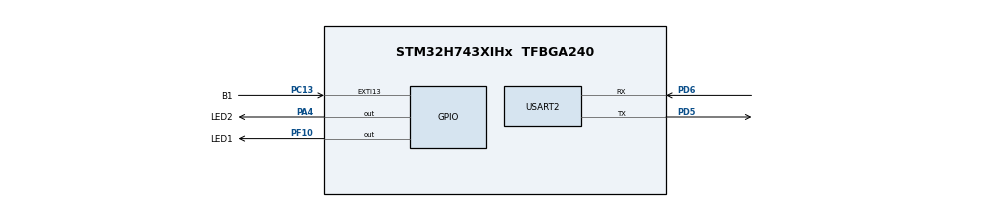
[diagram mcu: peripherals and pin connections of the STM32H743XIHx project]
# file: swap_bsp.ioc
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CORTEX_M7.CPU_DCache=Enabled
CORTEX_M7.CPU_ICache=Enabled
CORTEX_M7.default_mode_Activation=1
Mcu.Family=STM32H7
Mcu.Name=STM32H743XIHx
Mcu.Package=TFBGA240
NVIC.EXTI15_10_IRQn=true\:0\:0\:false\:false\:true\:true\:true\:true
NVIC.PriorityGroup=NVIC_PRIORITYGROUP_4
NVIC.USART2_IRQn=true\:5\:0\:true\:false\:true\:true\:true\:true
PA4.GPIO_Label=LED2
PA4.PinState=GPIO_PIN_SET
PA4.Signal=GPIO_Output
PC13.GPIO_Label=B1
PC13.Signal=GPXTI13
PD5.Mode=Asynchronous
PD5.Signal=USART2_TX
PD6.Mode=Asynchronous
PD6.Signal=USART2_RX
PF10.GPIO_Label=LED1
PF10.PinState=GPIO_PIN_SET
PF10.Signal=GPIO_Output
PH0-OSC_IN\ (PH0).Mode=HSE-External-Oscillator
PH0-OSC_IN\ (PH0).Signal=RCC_OSC_IN
PH1-OSC_OUT\ (PH1).Mode=HSE-External-Oscillator
PH1-OSC_OUT\ (PH1).Signal=RCC_OSC_OUT
ProjectManager.HeapSize=0x200
ProjectManager.StackSize=0x400
ProjectManager.TargetToolchain=STM32CubeIDE
RCC.ADCFreq_Value=129000000
RCC.APB1Freq_Value=64000000
RCC.APB2Freq_Value=64000000
RCC.APB3Freq_Value=64000000
RCC.APB4Freq_Value=64000000
RCC.CortexFreq_Value=64000000
RCC.HCLKFreq_Value=64000000
RCC.PWR_Regulator_Voltage_Scale=PWR_REGULATOR_VOLTAGE_SCALE1
RCC.SYSCLKFreq_VALUE=64000000
RCC.USBFreq_Value=129000000
USART2.VirtualMode-Asynchronous=VM_ASYNC
board=STM32H743I-EVAL2

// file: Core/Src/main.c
/* USER CODE BEGIN Header */
/**
  ******************************************************************************
  * @file           : main.c
  * @brief          : Main program body
  ******************************************************************************
  * @attention
  *
  * Copyright (c) 2024 STMicroelectronics.
  * All rights reserved.
  *
  * This software is licensed under terms that can be found in the LICENSE file
  * in the root directory of this software component.
  * If no LICENSE file comes with this software, it is provided AS-IS.
  *
  ******************************************************************************
  */
/* USER CODE END Header */
#include "main.h"
#include "usart.h"
#include "gpio.h"

/* USER CODE BEGIN Includes */
#include <stdlib.h>
#include "MQTTSim800.h"
#include <string.h>
#include <stdio.h>
#include "stm32h743i_eval.h"
#include "stm32h743i_eval_lcd.h"
#include "stm32h743i_eval_ts.h"
#include "fonts.h"
#include "stm32_lcd.h"
#include "stm32h743i_eval_sdram.h"
#include "stm32h743i_eval_qspi.h"
#include "stm32h743i_eval_eeprom.h"

/* USER CODE END Includes */

/* USER CODE BEGIN PD */
#define UART_SIM800 &huart2
#define FREERTOS 0
#define CMD_DELAY 2000
/* USER CODE END PD */

/* USER CODE BEGIN PV */
 FLASH_OBProgramInitTypeDef OBInit;
 SIM800_t SIM800;
 uint8_t buf[30] = {0};
 unsigned char  rec[64] ;
 unsigned char  newf[64] ;
/* USER CODE END PV */

void SystemClock_Config(void);
//static void MPU_Initialize(void);
//static void MPU_Config(void);

/* USER CODE BEGIN 0 */
void HAL_UART_RxCpltCallback(UART_HandleTypeDef *huart) {
	if (huart == UART_SIM800) {
		Sim800_RxCallBack();
	}
}
TS_State_t  TS_State = {0};
TS_Init_t  hTS;
char xTouchStr[10];
char yTouchStr[10];
uint16_t x1;
uint16_t y;
uint8_t state = 0;
uint32_t ts_status = BSP_ERROR_NONE;
uint32_t x_size, y_size;
/* USER CODE END 0 */

int main(void)
{

  /* Enable I-Cache---------------------------------------------------------*/
  SCB_EnableICache();

  /* Enable D-Cache---------------------------------------------------------*/
  SCB_EnableDCache();

  /* MCU Configuration--------------------------------------------------------*/

  /* Reset of all peripherals, Initializes the Flash interface and the Systick. */
  HAL_Init();

  /* MPU Configuration--------------------------------------------------------*/
  //MPU_Config();

  /* Configure the system clock */
  SystemClock_Config();

  /* Initialize all configured peripherals */
  MX_GPIO_Init();
  MX_USART2_UART_Init();
  /* USER CODE BEGIN 2 */
  BSP_LCD_Init(0, LCD_ORIENTATION_LANDSCAPE);
  UTIL_LCD_SetFuncDriver(&LCD_Driver);
  	uint32_t x_size;
  	uint32_t y_size;

  	UTIL_LCD_SetFont(&UTIL_LCD_DEFAULT_FONT);

  	/* Clear the LCD */
  	UTIL_LCD_SetBackColor(UTIL_LCD_COLOR_LIGHTBLUE);
  	UTIL_LCD_Clear(UTIL_LCD_COLOR_LIGHTBLUE);

  	BSP_LCD_GetXSize(0, &x_size);
  	BSP_LCD_GetYSize(0, &y_size);

  	/* Draw Bitmap */
  	//UTIL_LCD_DrawBitmap((x_size - 80)/2, 400, (uint8_t *)stlogo);
  	UTIL_LCD_DisplayStringAt(0, 100, (uint8_t *)"              ", CENTER_MODE);
  	UTIL_LCD_SetTextColor(UTIL_LCD_COLOR_BLACK);
  	UTIL_LCD_DisplayStringAt(0, 100, (uint8_t *)"Firmware 3 ", CENTER_MODE);
  	hTS.Width = x_size;
  	hTS.Height = y_size;
  	hTS.Orientation = TS_SWAP_NONE;
  	hTS.Accuracy = 1;
  	ts_status = BSP_TS_Init(0, &hTS);

  	SIM800.sim.apn = "weborange";
  	SIM800.sim.apn_user = "";
  	SIM800.sim.apn_pass = "";
  	SIM800.mqttServer.host = "test.mosquitto.org";
  	SIM800.mqttServer.port = 1883;
  	SIM800.mqttClient.username = "";
  	SIM800.mqttClient.pass = "";
  	SIM800.mqttClient.clientID = "TestSub";
  	SIM800.mqttClient.keepAliveInterval = 120;
  	MQTT_Init();
  	uint8_t sub = 0;
  /* USER CODE END 2 */

  /* Infinite loop */
  while (1)
  {

    /* USER CODE BEGIN 3 */

	  ts_status = BSP_TS_GetState(0, &TS_State);
	  		if(TS_State.TouchDetected)
	  		{
	  			x1 = TS_State.TouchX;
	  			y = TS_State.TouchY;

	  			sprintf(xTouchStr, "X: %3d",x1);
	  			sprintf(yTouchStr, "Y: %3d",y);
	  			UTIL_LCD_SetTextColor(UTIL_LCD_COLOR_BLACK);
	  			UTIL_LCD_DisplayStringAt(0, 140, (uint8_t *)xTouchStr, CENTER_MODE);
	  			UTIL_LCD_DisplayStringAt(100, 140, (uint8_t *)yTouchStr, CENTER_MODE);
	  		}
	  			  if (SIM800.mqttServer.connect == 0) {
	  				UTIL_LCD_SetTextColor(UTIL_LCD_COLOR_RED);
	  				   	UTIL_LCD_DisplayStringAt(0, 150, (uint8_t *)"try to connect ", RIGHT_MODE);
	  					UTIL_LCD_FillCircle(200, 160, 14,UTIL_LCD_COLOR_RED);
	  			  			MQTT_Init();
	  			  			sub = 0;
	  			  		}
	  			  		if (SIM800.mqttServer.connect == 1)
	  			  		{
	  			  			if(sub == 0){
	  			  				MQTT_Sub("123456");
	  			  				sub = 1;
	  			  				MQTT_Pub("123456", "connected");
	  			  			UTIL_LCD_DisplayStringAt(0, 150, (uint8_t *)"                        ", RIGHT_MODE);
	  			  			UTIL_LCD_SetTextColor(UTIL_LCD_COLOR_GREEN);
	  			  			UTIL_LCD_DisplayStringAt(0, 150, (uint8_t *)"connected ", LEFT_MODE);
	  			  			UTIL_LCD_FillCircle(200, 160, 14,UTIL_LCD_COLOR_GREEN);

	  			  			}
	  			  			//HAL_GPIO_TogglePin(LED2_GPIO_Port, LED2_Pin);
	  			  			HAL_GPIO_TogglePin(LED2_GPIO_Port, LED2_Pin);
	  			  			HAL_GPIO_WritePin(LED1_GPIO_Port, LED1_Pin, GPIO_PIN_SET);

	  			  			HAL_Delay(400);

	  			  			if(SIM800.mqttReceive.newEvent) {
	  			  				memcpy(rec,SIM800.mqttReceive.payload,64);
	  			  			memcpy(rec,SIM800.mqttReceive.payload,64);
	  			  				strncpy(newf, rec, 12);
	  			  				newf[12] = '\0';
	  			  				SIM800.mqttReceive.newEvent = 0;
	  			  			}
	  			  		}
	  			  		if(strcmp(newf,"new firmware")==0)
	  			  		{
	  			  			UTIL_LCD_SetTextColor(UTIL_LCD_COLOR_BLACK);
  		  					UTIL_LCD_DisplayStringAt(0, 200, (uint8_t *)"              ", CENTER_MODE);
	  			  			UTIL_LCD_DisplayStringAt(0, 200, (uint8_t *)"new firmware exist ", CENTER_MODE);
	  			  			HAL_Delay(400);
	  			  			HAL_FLASH_Unlock();

	  			  			HAL_FLASH_OB_Unlock();
	  			  			HAL_FLASHEx_OBGetConfig(&OBInit);

	  			  			OBInit.Banks     = FLASH_BANK_1;
	  			  			HAL_FLASHEx_OBGetConfig(&OBInit);

	  			  			if ((OBInit.USERConfig & OB_SWAP_BANK_ENABLE) == OB_SWAP_BANK_DISABLE)
	  			  			{

	  			  				OBInit.OptionType = OPTIONBYTE_USER;
	  			  				OBInit.USERType   = OB_USER_SWAP_BANK;
	  			  				OBInit.USERConfig = OB_SWAP_BANK_ENABLE;
	  			  				HAL_FLASHEx_OBProgram(&OBInit);

	  			  				HAL_FLASH_OB_Launch();

	  			  				HAL_NVIC_SystemReset();

	  			  				SCB_InvalidateICache();
	  			  			}
	  			  			else
	  			  			{

	  			  				OBInit.OptionType = OPTIONBYTE_USER;
	  			  				OBInit.USERType = OB_USER_SWAP_BANK;
	  			  				OBInit.USERConfig = OB_SWAP_BANK_DISABLE;
	  			  				HAL_FLASHEx_OBProgram(&OBInit);

	  			  				HAL_FLASH_OB_Launch();

	  			  				HAL_NVIC_SystemReset();

	  			  				SCB_InvalidateICache();
	  			  			}
	  			  		}

	    }
  /* USER CODE END 3 */
}

void SystemClock_Config(void)
{
	  RCC_OscInitTypeDef RCC_OscInitStruct = {0};
	  RCC_ClkInitTypeDef RCC_ClkInitStruct = {0};

	  /** Supply configuration update enable
	  */
	  HAL_PWREx_ConfigSupply(PWR_LDO_SUPPLY);

	  /** Configure the main internal regulator output voltage
	  */
	  __HAL_PWR_VOLTAGESCALING_CONFIG(PWR_REGULATOR_VOLTAGE_SCALE1);

	  while(!__HAL_PWR_GET_FLAG(PWR_FLAG_VOSRDY)) {}

	  /** Initializes the RCC Oscillators according to the specified parameters
	  * in the RCC_OscInitTypeDef structure.
	  */
	  RCC_OscInitStruct.OscillatorType = RCC_OSCILLATORTYPE_HSE;
	  RCC_OscInitStruct.HSEState = RCC_HSE_ON;
	  RCC_OscInitStruct.PLL.PLLState = RCC_PLL_ON;
	  RCC_OscInitStruct.PLL.PLLSource = RCC_PLLSOURCE_HSE;
	  RCC_OscInitStruct.PLL.PLLM = 2;
	  RCC_OscInitStruct.PLL.PLLN = 64;
	  RCC_OscInitStruct.PLL.PLLP = 2;
	  RCC_OscInitStruct.PLL.PLLQ = 2;
	  RCC_OscInitStruct.PLL.PLLR = 2;
	  RCC_OscInitStruct.PLL.PLLRGE = RCC_PLL1VCIRANGE_3;
	  RCC_OscInitStruct.PLL.PLLVCOSEL = RCC_PLL1VCOWIDE;
	  RCC_OscInitStruct.PLL.PLLFRACN = 0;
	  if (HAL_RCC_OscConfig(&RCC_OscInitStruct) != HAL_OK)
	  {
	    Error_Handler();
	  }

	  /** Initializes the CPU, AHB and APB buses clocks
	  */
	  RCC_ClkInitStruct.ClockType = RCC_CLOCKTYPE_HCLK|RCC_CLOCKTYPE_SYSCLK
	                              |RCC_CLOCKTYPE_PCLK1|RCC_CLOCKTYPE_PCLK2
	                              |RCC_CLOCKTYPE_D3PCLK1|RCC_CLOCKTYPE_D1PCLK1;
	  RCC_ClkInitStruct.SYSCLKSource = RCC_SYSCLKSOURCE_PLLCLK;
	  RCC_ClkInitStruct.SYSCLKDivider = RCC_SYSCLK_DIV1;
	  RCC_ClkInitStruct.AHBCLKDivider = RCC_HCLK_DIV2;
	  RCC_ClkInitStruct.APB3CLKDivider = RCC_APB3_DIV2;
	  RCC_ClkInitStruct.APB1CLKDivider = RCC_APB1_DIV2;
	  RCC_ClkInitStruct.APB2CLKDivider = RCC_APB2_DIV2;
	  RCC_ClkInitStruct.APB4CLKDivider = RCC_APB4_DIV2;

	  if (HAL_RCC_ClockConfig(&RCC_ClkInitStruct, FLASH_LATENCY_2) != HAL_OK)
	  {
	    Error_Handler();
	  }
}

/* USER CODE BEGIN 4 */
void HAL_GPIO_EXTI_Callback(uint16_t GPIO_Pin)
{
  if(GPIO_Pin == GPIO_PIN_13) {
	  HAL_FLASH_Unlock();

	   HAL_FLASH_OB_Unlock();
	  HAL_FLASHEx_OBGetConfig(&OBInit);

	  OBInit.Banks     = FLASH_BANK_1;
	  HAL_FLASHEx_OBGetConfig(&OBInit);

	 if ((OBInit.USERConfig & OB_SWAP_BANK_ENABLE) == OB_SWAP_BANK_DISABLE)
	  	{

	  	          OBInit.OptionType = OPTIONBYTE_USER;
	  	          OBInit.USERType   = OB_USER_SWAP_BANK;
	  	          OBInit.USERConfig = OB_SWAP_BANK_ENABLE;
	  	          HAL_FLASHEx_OBProgram(&OBInit);

	  	          HAL_FLASH_OB_Launch();

	  	          HAL_NVIC_SystemReset();

	  	          SCB_InvalidateICache();
	  	        }
	  	        else
	  	        {

	  	          OBInit.OptionType = OPTIONBYTE_USER;
	  	          OBInit.USERType = OB_USER_SWAP_BANK;
	  	          OBInit.USERConfig = OB_SWAP_BANK_DISABLE;
	  	          HAL_FLASHEx_OBProgram(&OBInit);

	  	          HAL_FLASH_OB_Launch();

	  	          HAL_NVIC_SystemReset();

	  	          SCB_InvalidateICache();
	  	        }
  } else {
      __NOP();
  }
}
/* USER CODE END 4 */

/* MPU Configuration */

void MPU_Config(void)
{
  MPU_Region_InitTypeDef MPU_InitStruct = {0};

  /* Disables the MPU */
  HAL_MPU_Disable();

  /** Initializes and configures the Region and the memory to be protected
  */
  MPU_InitStruct.Enable = MPU_REGION_ENABLE;
  MPU_InitStruct.Number = MPU_REGION_NUMBER0;
  MPU_InitStruct.BaseAddress = 0x0;
  MPU_InitStruct.Size = MPU_REGION_SIZE_4GB;
  MPU_InitStruct.SubRegionDisable = 0x87;
  MPU_InitStruct.TypeExtField = MPU_TEX_LEVEL0;
  MPU_InitStruct.AccessPermission = MPU_REGION_NO_ACCESS;
  MPU_InitStruct.DisableExec = MPU_INSTRUCTION_ACCESS_DISABLE;
  MPU_InitStruct.IsShareable = MPU_ACCESS_SHAREABLE;
  MPU_InitStruct.IsCacheable = MPU_ACCESS_NOT_CACHEABLE;
  MPU_InitStruct.IsBufferable = MPU_ACCESS_NOT_BUFFERABLE;

  HAL_MPU_ConfigRegion(&MPU_InitStruct);
  /* Enables the MPU */
  HAL_MPU_Enable(MPU_PRIVILEGED_DEFAULT);

}

void Error_Handler(void)
{
  __disable_irq();
  while (1)
  {
  }
}
